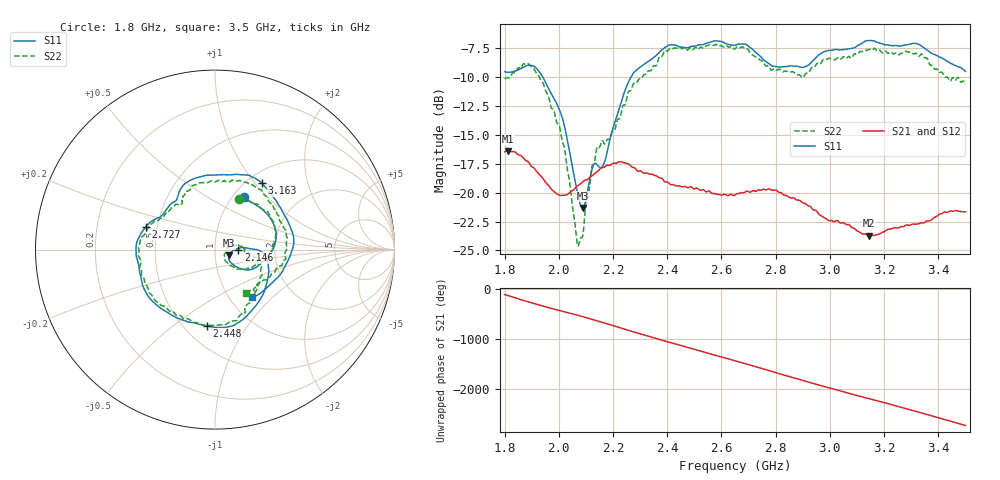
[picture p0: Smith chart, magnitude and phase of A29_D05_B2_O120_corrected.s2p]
! Created with skrf 1.9.0 (http://scikit-rf.org).
# Hz S RI R 50.0
!freq ReS11 ImS11 ReS21 ImS21 ReS12 ImS12 ReS22 ImS22
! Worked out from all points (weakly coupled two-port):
!   1601 points, 1.8 GHz to 3.5 GHz, reference 50 ohm
!   highest |S21| = -16.38 dB at 1.812 GHz (marker M1); lowest = -23.7 dB at 3.144 GHz (marker M2)
!   lowest |S11| = -21.3 dB at 2.088 GHz (marker M3), VSWR 1.19, Z = 58.5 - j3.85 ohm
!   |S11| at or under -10 dB: 1.941 GHz to 2.266 GHz (324.3 MHz wide, 15.4 % of centre)
!   |S22| runs from -24.6 to -7.2 dB; largest |S21 - S12| = 0.0027
!   S11 on the Smith chart (normalised r, x): 1.8 GHz: 1.12, +0.74; 2.146 GHz: 1.30, -0.00; 2.448 GHz: 0.64, -0.67; 2.727 GHz: 0.43, +0.13; 3.163 GHz: 1.16, +1.09; 3.5 GHz: 1.27, -0.75
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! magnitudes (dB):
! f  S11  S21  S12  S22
! 1.8 GHz  -9.5  -16.5  -16.5  -10.2
! 1.812 GHz  -9.6  -16.4  -16.4  -10.0
! 1.885 GHz  -9.0  -17.3  -17.3  -8.9
! 1.94 GHz  -10.0  -18.7  -18.7  -10.5
! 2.011 GHz  -13.4  -20.2  -20.2  -15.4
! 2.067 GHz  -19.8  -19.4  -19.5  -24.3
! 2.084 GHz  -21.3  -19.2  -19.1  -23.9
! 2.088 GHz  -21.3  -19.1  -19.1  -23.8
! 2.125 GHz  -17.8  -18.5  -18.5  -17.6
! 2.146 GHz  -17.7  -18.1  -18.1  -16.1
! 2.168 GHz  -17.4  -17.8  -17.8  -15.8
! 2.264 GHz  -10.1  -17.7  -17.7  -11.2
! 2.367 GHz  -7.9  -18.6  -18.6  -8.4
! 2.448 GHz  -7.4  -19.5  -19.4  -7.4
! 2.65 GHz  -7.2  -20.2  -20.2  -7.6
! 2.727 GHz  -7.9  -19.9  -19.9  -8.3
! 2.799 GHz  -9.1  -19.8  -19.8  -9.3
! 2.934 GHz  -8.7  -21.4  -21.3  -9.2
! 3.144 GHz  -6.8  -23.7  -23.6  -7.6
! 3.163 GHz  -6.9  -23.7  -23.7  -7.5
! 3.217 GHz  -7.2  -23.1  -23.1  -7.9
! 3.5 GHz  -9.5  -21.6  -21.7  -10.6
